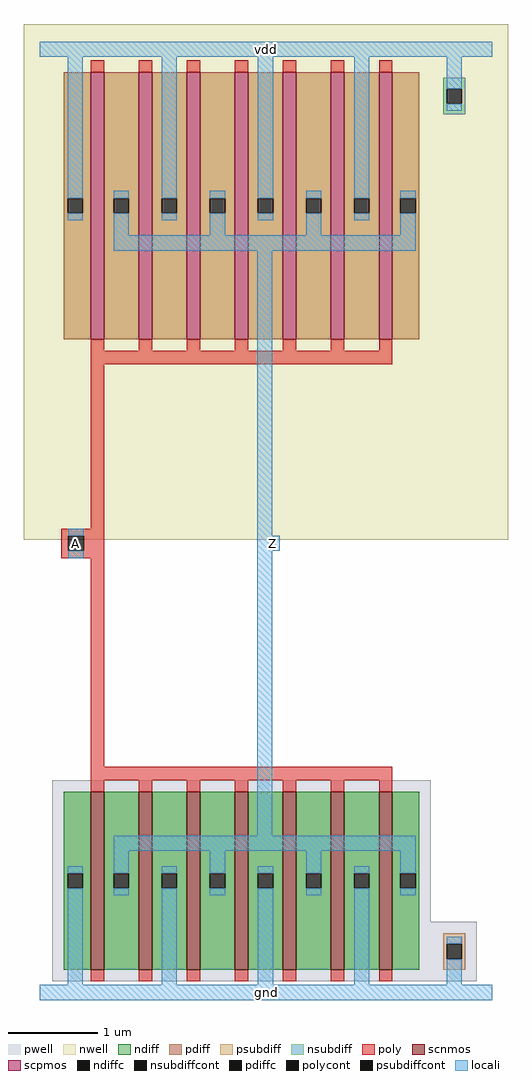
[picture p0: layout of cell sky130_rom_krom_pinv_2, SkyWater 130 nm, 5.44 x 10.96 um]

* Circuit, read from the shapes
.subckt sky130_rom_krom_pinv_2 A Z gnd vdd
XM1 Z A gnd gnd sky130_fd_pr__nfet_01v8 w=2 l=0.15 m=7
XM2 Z A vdd vdd sky130_fd_pr__pfet_01v8 w=3 l=0.15 m=7
.ends

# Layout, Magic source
magic
tech sky130A
magscale 1 2
<< nwell >>
rect -36 1017 1052 2176
<< pwell >>
rect 28 159 878 477
rect 28 25 982 159
<< scnmos >>
rect 114 51 144 451
rect 222 51 252 451
rect 330 51 360 451
rect 438 51 468 451
rect 546 51 576 451
rect 654 51 684 451
rect 762 51 792 451
<< scpmos >>
rect 114 1468 144 2068
rect 222 1468 252 2068
rect 330 1468 360 2068
rect 438 1468 468 2068
rect 546 1468 576 2068
rect 654 1468 684 2068
rect 762 1468 792 2068
<< ndiff >>
rect 54 268 114 451
rect 54 234 62 268
rect 96 234 114 268
rect 54 51 114 234
rect 144 268 222 451
rect 144 234 166 268
rect 200 234 222 268
rect 144 51 222 234
rect 252 268 330 451
rect 252 234 274 268
rect 308 234 330 268
rect 252 51 330 234
rect 360 268 438 451
rect 360 234 382 268
rect 416 234 438 268
rect 360 51 438 234
rect 468 268 546 451
rect 468 234 490 268
rect 524 234 546 268
rect 468 51 546 234
rect 576 268 654 451
rect 576 234 598 268
rect 632 234 654 268
rect 576 51 654 234
rect 684 268 762 451
rect 684 234 706 268
rect 740 234 762 268
rect 684 51 762 234
rect 792 268 852 451
rect 792 234 810 268
rect 844 234 852 268
rect 792 51 852 234
<< pdiff >>
rect 54 1785 114 2068
rect 54 1751 62 1785
rect 96 1751 114 1785
rect 54 1468 114 1751
rect 144 1785 222 2068
rect 144 1751 166 1785
rect 200 1751 222 1785
rect 144 1468 222 1751
rect 252 1785 330 2068
rect 252 1751 274 1785
rect 308 1751 330 1785
rect 252 1468 330 1751
rect 360 1785 438 2068
rect 360 1751 382 1785
rect 416 1751 438 1785
rect 360 1468 438 1751
rect 468 1785 546 2068
rect 468 1751 490 1785
rect 524 1751 546 1785
rect 468 1468 546 1751
rect 576 1785 654 2068
rect 576 1751 598 1785
rect 632 1751 654 1785
rect 576 1468 654 1751
rect 684 1785 762 2068
rect 684 1751 706 1785
rect 740 1751 762 1785
rect 684 1468 762 1751
rect 792 1785 852 2068
rect 792 1751 810 1785
rect 844 1751 852 1785
rect 792 1468 852 1751
<< ndiffc >>
rect 62 234 96 268
rect 166 234 200 268
rect 274 234 308 268
rect 382 234 416 268
rect 490 234 524 268
rect 598 234 632 268
rect 706 234 740 268
rect 810 234 844 268
<< pdiffc >>
rect 62 1751 96 1785
rect 166 1751 200 1785
rect 274 1751 308 1785
rect 382 1751 416 1785
rect 490 1751 524 1785
rect 598 1751 632 1785
rect 706 1751 740 1785
rect 810 1751 844 1785
<< psubdiff >>
rect 906 109 956 133
rect 906 75 914 109
rect 948 75 956 109
rect 906 51 956 75
<< nsubdiff >>
rect 906 2031 956 2055
rect 906 1997 914 2031
rect 948 1997 956 2031
rect 906 1973 956 1997
<< psubdiffcont >>
rect 914 75 948 109
<< nsubdiffcont >>
rect 914 1997 948 2031
<< poly >>
rect 114 2068 144 2094
rect 222 2068 252 2094
rect 330 2068 360 2094
rect 438 2068 468 2094
rect 546 2068 576 2094
rect 654 2068 684 2094
rect 762 2068 792 2094
rect 114 1442 144 1468
rect 222 1442 252 1468
rect 330 1442 360 1468
rect 438 1442 468 1468
rect 546 1442 576 1468
rect 654 1442 684 1468
rect 762 1442 792 1468
rect 114 1412 792 1442
rect 114 1042 144 1412
rect 48 1026 144 1042
rect 48 992 64 1026
rect 98 992 144 1026
rect 48 976 144 992
rect 114 507 144 976
rect 114 477 792 507
rect 114 451 144 477
rect 222 451 252 477
rect 330 451 360 477
rect 438 451 468 477
rect 546 451 576 477
rect 654 451 684 477
rect 762 451 792 477
rect 114 25 144 51
rect 222 25 252 51
rect 330 25 360 51
rect 438 25 468 51
rect 546 25 576 51
rect 654 25 684 51
rect 762 25 792 51
<< polycont >>
rect 64 992 98 1026
<< locali >>
rect 0 2102 1016 2136
rect 62 1785 96 2102
rect 62 1735 96 1751
rect 166 1785 200 1801
rect 166 1701 200 1751
rect 274 1785 308 2102
rect 274 1735 308 1751
rect 382 1785 416 1801
rect 382 1701 416 1751
rect 490 1785 524 2102
rect 490 1735 524 1751
rect 598 1785 632 1801
rect 598 1701 632 1751
rect 706 1785 740 2102
rect 914 2031 948 2102
rect 914 1981 948 1997
rect 706 1735 740 1751
rect 810 1785 844 1801
rect 810 1701 844 1751
rect 166 1667 844 1701
rect 64 1026 98 1042
rect 64 976 98 992
rect 488 1026 522 1667
rect 488 992 539 1026
rect 488 352 522 992
rect 166 318 844 352
rect 62 268 96 284
rect 62 17 96 234
rect 166 268 200 318
rect 166 218 200 234
rect 274 268 308 284
rect 274 17 308 234
rect 382 268 416 318
rect 382 218 416 234
rect 490 268 524 284
rect 490 17 524 234
rect 598 268 632 318
rect 598 218 632 234
rect 706 268 740 284
rect 706 17 740 234
rect 810 268 844 318
rect 810 218 844 234
rect 914 109 948 125
rect 914 17 948 75
rect 0 -17 1016 17
<< labels >>
rlabel locali s 81 1009 81 1009 4 A
port 1 nsew
rlabel locali s 522 1009 522 1009 4 Z
port 2 nsew
rlabel locali s 508 0 508 0 4 gnd
port 3 nsew
rlabel locali s 508 2119 508 2119 4 vdd
port 4 nsew
<< properties >>
string FIXED_BBOX 0 0 1016 1684
<< end >>
